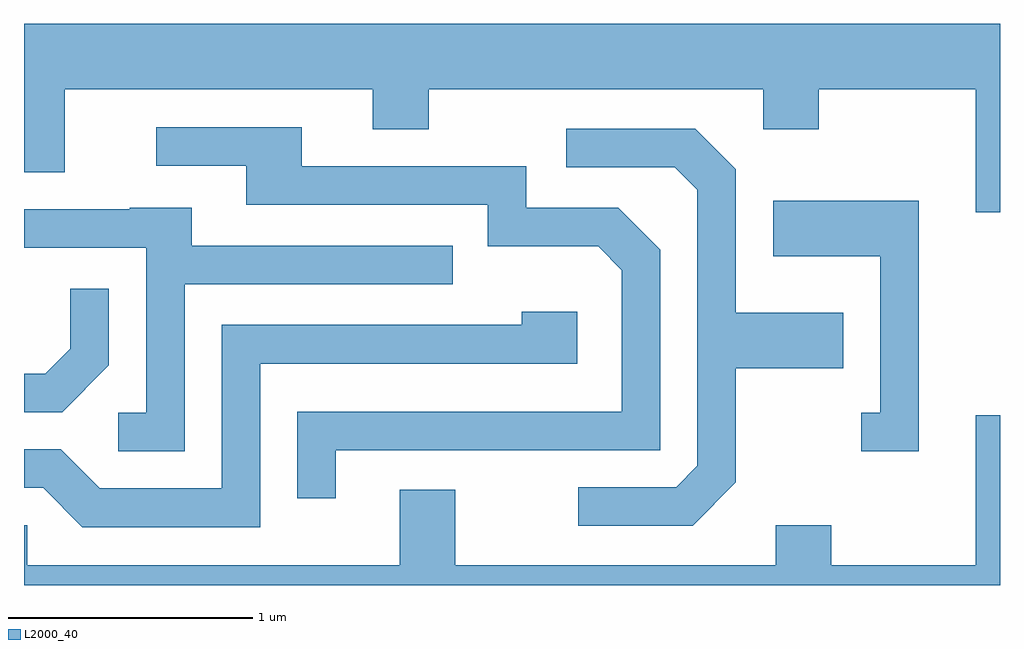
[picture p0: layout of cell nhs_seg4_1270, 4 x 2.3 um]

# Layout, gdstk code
import gdstk
lib = gdstk.Library(unit=1e-6, precision=1e-09)
def P(c, l, *ps):  # polygons
    for p in ps: c.add(gdstk.Polygon(p, *l))
L2000_40 = (2000, 40)

nhs_seg4_1270 = lib.new_cell('nhs_seg4_1270')
P(nhs_seg4_1270, L2000_40, [(225.611,1348.284),(221.611,1348.284),(221.611,1347.676),(221.779,1347.676),(221.779,1348.016),(223.041,1348.016),(223.041,1347.851),(223.269,1347.851),(223.269,1348.016),(224.641,1348.016),(224.641,1347.851),(224.869,1347.851),(224.869,1348.016),(225.511,1348.016),(225.511,1347.511),(225.611,1347.511)],
  [(222.889,1346.536),(224.219,1346.536),(224.219,1347.357),(224.047,1347.529),(223.669,1347.529),(223.669,1347.699),(222.749,1347.699),(222.749,1347.859),(222.153,1347.859),(222.153,1347.701),(222.521,1347.701),(222.521,1347.541),(223.511,1347.541),(223.511,1347.371),(223.964,1347.371),(224.061,1347.274),(224.061,1346.694),(222.731,1346.694),(222.731,1346.338),(222.889,1346.338)],
  [(224.529,1346.404),(224.529,1346.871),(224.969,1346.871),(224.969,1347.099),(224.529,1347.099),(224.529,1347.687),(224.362,1347.854),(223.833,1347.854),(223.833,1347.696),(224.279,1347.696),(224.371,1347.604),(224.371,1346.472),(224.284,1346.384),(223.883,1346.384),(223.883,1346.226),(224.352,1346.226)],
  [(225.279,1347.559),(224.681,1347.559),(224.681,1347.331),(225.121,1347.331),(225.121,1346.689),(225.043,1346.689),(225.043,1346.531),(225.279,1346.531)],
  [(222.269,1347.216),(223.368,1347.216),(223.368,1347.374),(222.299,1347.374),(222.299,1347.529),(222.045,1347.529),(222.045,1347.524),(221.611,1347.524),(221.611,1347.366),(222.111,1347.366),(222.111,1346.689),(221.998,1346.689),(221.998,1346.531),(222.269,1346.531)],
  [(221.959,1346.884),(221.959,1347.198),(221.801,1347.198),(221.801,1346.952),(221.699,1346.849),(221.611,1346.849),(221.611,1346.691),(221.767,1346.691)],
  [(222.579,1346.891),(223.879,1346.891),(223.879,1347.104),(223.651,1347.104),(223.651,1347.049),(222.421,1347.049),(222.421,1346.379),(221.922,1346.379),(221.762,1346.539),(221.611,1346.539),(221.611,1346.381),(221.689,1346.381),(221.849,1346.221),(222.579,1346.221)],
  [(225.611,1346.679),(225.511,1346.679),(225.511,1346.064),(224.919,1346.064),(224.919,1346.229),(224.691,1346.229),(224.691,1346.064),(223.379,1346.064),(223.379,1346.374),(223.151,1346.374),(223.151,1346.064),(221.624,1346.064),(221.624,1346.229),(221.611,1346.229),(221.611,1345.982),(225.611,1345.982)])

lib.write_gds('nhs_seg4_1270.gds')
